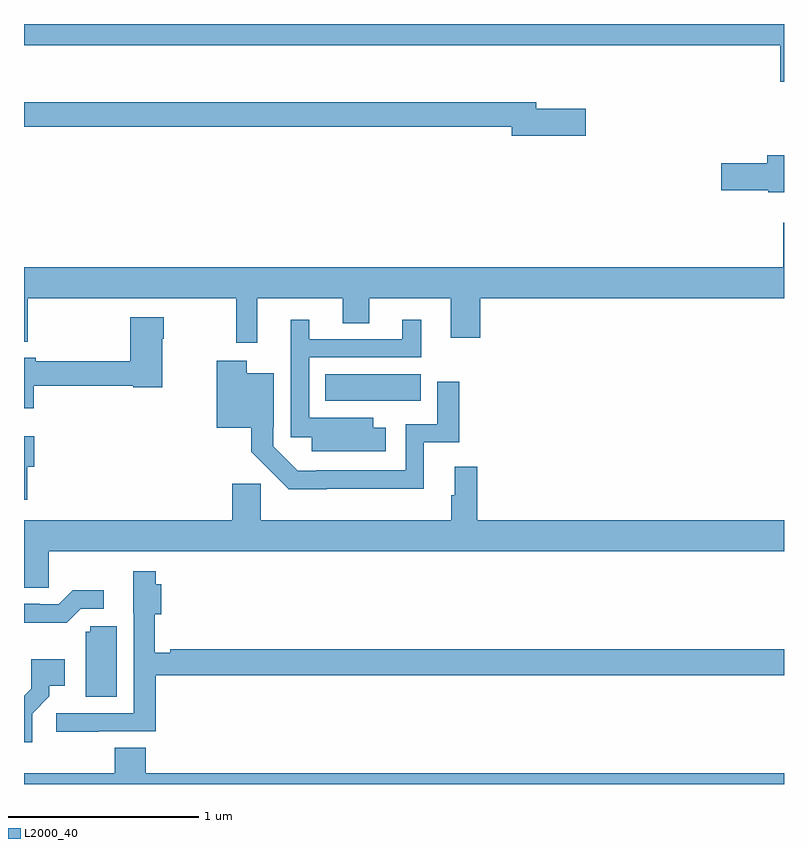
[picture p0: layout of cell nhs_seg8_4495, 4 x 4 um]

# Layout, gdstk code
import gdstk
lib = gdstk.Library(unit=1e-6, precision=1e-09)
def R(c, l, rs):  # rectangles x0, y0, x1, y1
    for r in rs: c.add(gdstk.rectangle(r[:2], r[2:], *l))
def P(c, l, *ps):  # polygons
    for p in ps: c.add(gdstk.Polygon(p, *l))
L2000_40 = (2000, 40)

nhs_seg8_4495 = lib.new_cell('nhs_seg8_4495')
R(nhs_seg8_4495, L2000_40, [(384.586,1159.916,385.087,1160.056)])
P(nhs_seg8_4495, L2000_40, [(387,1161.9),(383,1161.9),(383,1161.788),(386.981,1161.788),(386.981,1161.597),(387,1161.597)],
  [(385.957,1161.453),(385.696,1161.453),(385.696,1161.487),(383,1161.487),(383,1161.358),(385.568,1161.358),(385.568,1161.311),(385.957,1161.311)],
  [(387,1161.208),(386.912,1161.208),(386.912,1161.167),(386.67,1161.167),(386.67,1161.025),(386.916,1161.025),(386.916,1161.014),(387,1161.014)],
  [(384.227,1160.456),(384.677,1160.456),(384.677,1160.326),(384.817,1160.326),(384.817,1160.456),(385.247,1160.456),(385.247,1160.25),(385.4,1160.25),(385.4,1160.456),(387,1160.456),(387,1160.854),(386.995,1160.854),(386.995,1160.62),(383,1160.62),(383,1160.228),(383.021,1160.228),(383.021,1160.456),(384.117,1160.456),(384.117,1160.223),(384.227,1160.223)],
  [(383.05,1159.996),(383.574,1159.996),(383.574,1159.988),(383.728,1159.988),(383.728,1160.243),(383.736,1160.243),(383.736,1160.356),(383.558,1160.356),(383.558,1160.125),(383.063,1160.125),(383.063,1160.143),(383,1160.143),(383,1159.877),(383.05,1159.877)],
  [(384.904,1159.774),(384.838,1159.774),(384.838,1159.828),(384.501,1159.828),(384.501,1160.145),(385.09,1160.145),(385.09,1160.344),(384.992,1160.344),(384.992,1160.241),(384.502,1160.241),(384.502,1160.344),(384.405,1160.344),(384.405,1159.725),(384.515,1159.725),(384.515,1159.652),(384.904,1159.652)],
  [(384.593,1159.454),(385.105,1159.454),(385.105,1159.698),(385.292,1159.698),(385.292,1160.017),(385.176,1160.017),(385.176,1159.794),(385.008,1159.794),(385.008,1159.551),(384.541,1159.551),(384.541,1159.548),(384.441,1159.548),(384.312,1159.677),(384.312,1159.777),(384.315,1159.777),(384.315,1160.062),(384.172,1160.062),(384.172,1160.128),(384.014,1160.128),(384.014,1159.775),(384.197,1159.775),(384.197,1159.649),(384.394,1159.452),(384.593,1159.452)],
  [(383.018,1159.571),(383.053,1159.571),(383.053,1159.729),(383,1159.729),(383,1159.395),(383.018,1159.395)],
  [(383.13,1159.124),(387,1159.124),(387,1159.288),(385.385,1159.288),(385.385,1159.57),(385.268,1159.57),(385.268,1159.421),(385.249,1159.421),(385.249,1159.288),(384.245,1159.288),(384.245,1159.479),(384.095,1159.479),(384.095,1159.288),(383,1159.288),(383,1158.934),(383.13,1158.934)],
  [(383.393,1158.177),(383.693,1158.177),(383.693,1158.472),(387,1158.472),(387,1158.608),(383.77,1158.608),(383.77,1158.59),(383.689,1158.59),(383.689,1158.794),(383.723,1158.794),(383.723,1158.952),(383.693,1158.952),(383.693,1159.021),(383.576,1159.021),(383.576,1158.798),(383.577,1158.798),(383.577,1158.273),(383.169,1158.273),(383.169,1158.175),(383.393,1158.175)],
  [(383.298,1158.822),(383.419,1158.822),(383.419,1158.919),(383.257,1158.919),(383.184,1158.846),(383.084,1158.846),(383.084,1158.849),(383,1158.849),(383,1158.75),(383.126,1158.75),(383.126,1158.749),(383.225,1158.749)],
  [(383.488,1158.729),(383.349,1158.729),(383.349,1158.702),(383.324,1158.702),(383.324,1158.358),(383.488,1158.358)],
  [(383.044,1158.271),(383.134,1158.361),(383.134,1158.416),(383.215,1158.416),(383.215,1158.556),(383.037,1158.556),(383.037,1158.401),(383,1158.364),(383,1158.12),(383.044,1158.12)],
  [(387,1157.956),(383.642,1157.956),(383.642,1158.092),(383.477,1158.092),(383.477,1157.956),(383,1157.956),(383,1157.9),(387,1157.9)])

lib.write_gds('nhs_seg8_4495.gds')
